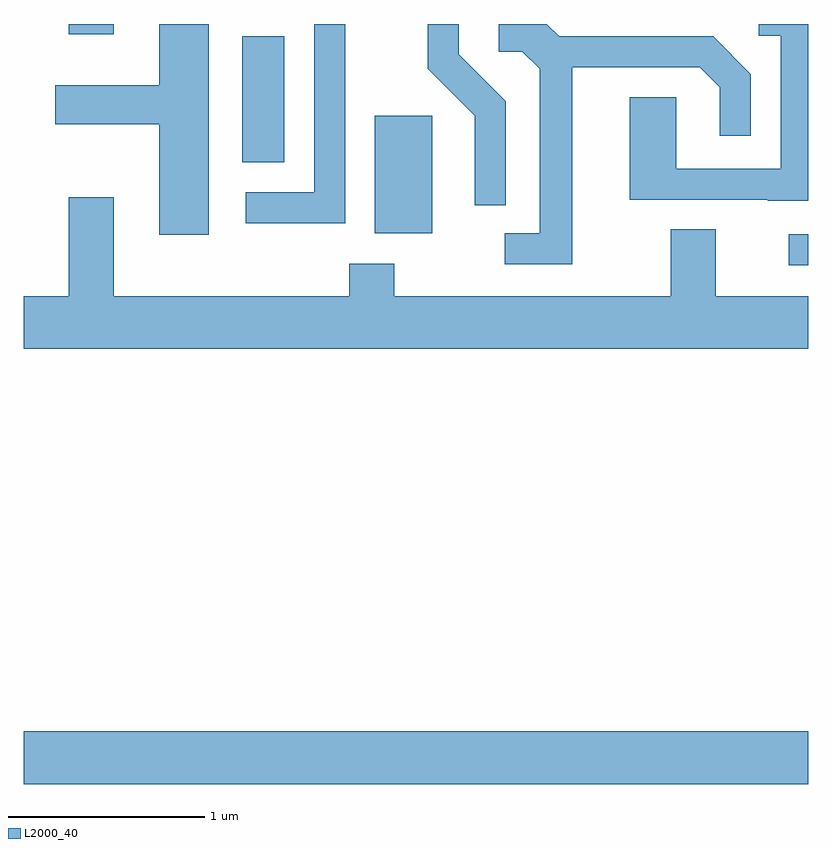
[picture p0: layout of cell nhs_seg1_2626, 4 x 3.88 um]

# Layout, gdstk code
import gdstk
lib = gdstk.Library(unit=1e-6, precision=1e-09)
def R(c, l, rs):  # rectangles x0, y0, x1, y1
    for r in rs: c.add(gdstk.rectangle(r[:2], r[2:], *l))
def P(c, l, *ps):  # polygons
    for p in ps: c.add(gdstk.Polygon(p, *l))
L2000_40 = (2000, 40)

nhs_seg1_2626 = lib.new_cell('nhs_seg1_2626')
R(nhs_seg1_2626, L2000_40, [(265.611,861.836,269.611,862.104), (269.513,864.481,269.611,864.639), (267.401,864.646,267.694,865.244), (266.726,865.006,266.939,865.649), (265.841,865.661,266.069,865.712)])
P(nhs_seg1_2626, L2000_40, [(268.409,865.491),(269.059,865.491),(269.161,865.389),(269.161,865.143),(269.319,865.143),(269.319,865.457),(269.127,865.649),(268.342,865.649),(268.279,865.712),(268.033,865.712),(268.033,865.571),(268.154,865.571),(268.241,865.484),(268.241,864.644),(268.063,864.644),(268.063,864.486),(268.409,864.486)],
  [(269.611,865.712),(269.358,865.712),(269.358,865.651),(269.471,865.651),(269.471,864.974),(268.939,864.974),(268.939,865.339),(268.701,865.339),(268.701,864.816),(269.405,864.816),(269.405,864.811),(269.611,864.811)],
  [(266.554,865.712),(266.301,865.712),(266.301,865.399),(265.771,865.399),(265.771,865.201),(266.301,865.201),(266.301,864.636),(266.554,864.636)],
  [(267.249,865.712),(267.091,865.712),(267.091,864.854),(266.743,864.854),(266.743,864.696),(267.249,864.696)],
  [(268.069,865.317),(267.829,865.557),(267.829,865.712),(267.671,865.712),(267.671,865.484),(267.911,865.244),(267.911,864.788),(268.069,864.788)],
  [(269.611,864.324),(269.139,864.324),(269.139,864.664),(268.911,864.664),(268.911,864.324),(267.499,864.324),(267.499,864.489),(267.271,864.489),(267.271,864.324),(266.069,864.324),(266.069,864.829),(265.841,864.829),(265.841,864.324),(265.611,864.324),(265.611,864.056),(269.611,864.056)])

lib.write_gds('nhs_seg1_2626.gds')
